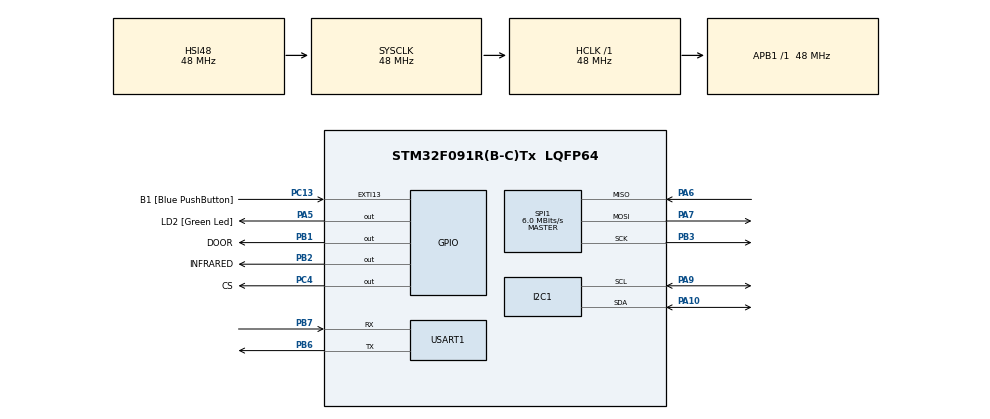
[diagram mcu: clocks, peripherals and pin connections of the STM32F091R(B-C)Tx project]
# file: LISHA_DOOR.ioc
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Mcu.Family=STM32F0
Mcu.Name=STM32F091R(B-C)Tx
Mcu.Package=LQFP64
PA10.Mode=I2C
PA10.Signal=I2C1_SDA
PA13.GPIO_Label=TMS
PA13.Signal=SYS_SWDIO
PA14.GPIO_Label=TCK
PA14.Signal=SYS_SWCLK
PA2.GPIO_Label=USART_TX
PA2.GPIO_Mode=GPIO_MODE_AF_PP
PA2.GPIO_PuPd=GPIO_NOPULL
PA2.GPIO_Speed=GPIO_SPEED_FREQ_LOW
PA2.Signal=USART2_TX
PA3.GPIO_Label=USART_RX
PA3.GPIO_Mode=GPIO_MODE_AF_PP
PA3.GPIO_PuPd=GPIO_NOPULL
PA3.GPIO_Speed=GPIO_SPEED_FREQ_LOW
PA3.Signal=USART2_RX
PA5.GPIO_Label=LD2 [Green Led]
PA5.GPIO_Mode=GPIO_MODE_OUTPUT_PP
PA5.GPIO_PuPd=GPIO_NOPULL
PA5.GPIO_Speed=GPIO_SPEED_FREQ_LOW
PA5.Signal=GPIO_Output
PA6.Mode=Full_Duplex_Master
PA6.Signal=SPI1_MISO
PA7.Mode=Full_Duplex_Master
PA7.Signal=SPI1_MOSI
PA9.Mode=I2C
PA9.Signal=I2C1_SCL
PB1.GPIO_Label=DOOR
PB1.Signal=GPIO_Output
PB2.GPIO_Label=INFRARED
PB2.Signal=GPIO_Output
PB3.Mode=Full_Duplex_Master
PB3.Signal=SPI1_SCK
PB6.Mode=Asynchronous
PB6.Signal=USART1_TX
PB7.Mode=Asynchronous
PB7.Signal=USART1_RX
PC13.GPIO_Label=B1 [Blue PushButton]
PC13.GPIO_ModeDefaultEXTI=GPIO_MODE_IT_FALLING
PC13.Signal=GPXTI13
PC14OSC32_IN.Signal=RCC_OSC32_IN
PC15OSC32_OUT.Signal=RCC_OSC32_OUT
PC4.GPIO_Label=CS
PC4.Signal=GPIO_Output
PF0-OSC_IN.Signal=RCC_OSC_IN
PF1-OSC_OUT.Signal=RCC_OSC_OUT
ProjectManager.HeapSize=0x200
ProjectManager.StackSize=0x400
ProjectManager.TargetToolchain=STM32CubeIDE
RCC.AHBFreq_Value=48000000
RCC.APB1Freq_Value=48000000
RCC.APB1TimFreq_Value=48000000
RCC.FLatency-AdvancedSettings=FLASH_LATENCY_1
RCC.HCLKFreq_Value=48000000
RCC.PLLDivider=RCC_PREDIV_DIV2
RCC.PLLMUL=RCC_PLL_MUL12
RCC.PREFETCH_ENABLE-AdvancedSettings=1
RCC.SYSCLKFreq_VALUE=48000000
RCC.SYSCLKSource=RCC_SYSCLKSOURCE_HSI48
SPI1.BaudRatePrescaler=SPI_BAUDRATEPRESCALER_8
SPI1.CalculateBaudRate=6.0 MBits/s
SPI1.Direction=SPI_DIRECTION_2LINES
SPI1.Mode=SPI_MODE_MASTER
SPI1.VirtualType=VM_MASTER
USART1.VirtualMode-Asynchronous=VM_ASYNC
VP_TIM1_VS_ClockSourceINT.Mode=Internal
board=NUCLEO-F091RC

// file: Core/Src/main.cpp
/* USER CODE BEGIN Header */
/**
  ******************************************************************************
  * @file           : main.c
  * @brief          : Main program body
  ******************************************************************************
  * @attention
  *
  * Copyright (c) 2023 STMicroelectronics.
  * All rights reserved.
  *
  * This software is licensed under terms that can be found in the LICENSE file
  * in the root directory of this software component.
  * If no LICENSE file comes with this software, it is provided AS-IS.
  *
  ******************************************************************************
  */
/* USER CODE END Header */
#include "main.h"
#include <cstdio>
#include "i2c.h"
#include "spi.h"
#include "tim.h"
#include "usart.h"
#include "gpio.h"
#include "ClockCalendar.h"
#include "RFID.hpp"
#include "AC_controller.hpp"
#include "BMP280.hpp"
#include "List.hpp"
#include "MQTT.hpp"

/* USER CODE BEGIN PV */
enum cases{
	StandBy = 0,
	CmdPorta,
	CmdAC,
	CommAndroid,
	CmdLog
};

#define MASTER_CARD_UID 0xa3a59670
/* USER CODE END PV */

void SystemClock_Config(void);

int main(void)
{
  /* USER CODE BEGIN 1 */

	uint8_t cases = StandBy;
	uint32_t card;
	uint32_t registeredCards[16];
	string acButton;
	string acTempMButton;
	string acTempPButton;
	string doorButton;
	uint8_t flagAcOn = 0;
	uint8_t flagDoorOpen = 0;
	uint8_t flagPlusTemp = 0;
	uint8_t flagMinusTemp = 0;
	float temperature = 0.00;
	const char *ssid = "LISHA_WIFI";
	const char *password = "l1sh4_2022";
	const char *broker = "mqtt.eclipse.org";
	uint16_t mqttPort = 1883;
	const char *topicAcOn = "/acbutton/";
	const char *topicAcTempPlus = "/acplustemp/";
	const char *topicAcTempMinus = "/acminustemp/";
	const char *topic_out = "/temperature/";
	const char *topicDoorButton = "/doorButton/";

	uint8_t temp = 24; //valro padrão de temperatura do ar condicionado
	/* USER CODE END 1 */

	/* MCU Configuration--------------------------------------------------------*/

	/* Reset of all peripherals, Initializes the Flash interface and the Systick. */
	HAL_Init();

	/* Configure the system clock */
	SystemClock_Config();

  /* Initialize all configured peripherals */
	MX_GPIO_Init();
	MX_I2C1_Init();
	MX_SPI1_Init();
	MX_TIM1_Init();
	MX_USART1_UART_Init();
	/* USER CODE BEGIN 2 */
	ClockCalendar clkCalendar(9, 20, 2023, 7, 32, 20, 1); // 13/09/2023 - 7:50:50 PM;
	RFID rfid(CS_GPIO_Port, CS_Pin);
	rfid.RFID_Init();
	BMP280 bmp(0xF5, 0xF4);
	AC_controller ac(*INFRARED_GPIO_Port, INFRARED_Pin);
	List log;
	MQTT mqtt(broker, mqttPort, ssid, password);

  /* USER CODE END 2 */

  /* Infinite loop */
  /* USER CODE BEGIN WHILE */
	while (1) {
		switch (cases) {
		case StandBy:
			acButton = mqtt.Subscribe(topicAcOn, 2);
			acTempMButton = mqtt.Subscribe(topicAcTempMinus, 1);
			acTempPButton = mqtt.Subscribe(topicAcTempPlus, 1);
			doorButton = mqtt.Subscribe(topicDoorButton, 2);

			temperature = bmp.readSensor();

			if(acButton == "L")
			{
				flagAcOn = 1;
				cases = CommAndroid;
			}
			else if (acTempMButton == "M"){
				flagMinusTemp = 1;
				cases = CommAndroid;
			}
			else if (acTempPButton == "P"){
				flagPlusTemp = 1;
				cases = CommAndroid;
			}
			else if (doorButton == "L"){
				flagDoorOpen = 1;
				cases = CommAndroid;
			}

			else{
				flagAcOn = 0;
				flagDoorOpen = 0;
				flagMinusTemp = 0;
				flagPlusTemp = 0;
				cases = StandBy;

			}

			int hour, minute, second, isPM, day, month, year;
			temperature = bmp.readSensor();
			card = rfid.readSensor();
			for (uint8_t i = 0; i < 16; i++) {
				if (card == registeredCards[i]) {
					cases = CmdPorta;
					card = 0;
				} else if (card == MASTER_CARD_UID) {
					delay_us(1000);
					uint32_t temp_card = rfid.readSensor();
					if (registeredCards[i] == 0) {
						registeredCards[i] = temp_card;
						cases = CmdPorta;
					}
				}
			}

			break;
		case CmdPorta:
			GPIO_Output(DOOR_GPIO_Port, DOOR_Pin, 1);
			delay_us(1000);
			GPIO_Output(DOOR_GPIO_Port, DOOR_Pin, 0);
			clkCalendar.readClock(hour, second, minute, isPM);
			log.insertAfterLast(rfid.getSensorID(), temp, 1, flagAcOn, hour, minute, second, isPM);
			cases = StandBy;
			break;
		case CmdAC:
			switch (temp) {
			case 16:
				ac.sendCommand(AC_controller::COOL, AC_controller::FAN_AUTO, AC_controller::T16, AC_controller::TURBO_ON, AC_controller::SWING_ON, AC_controller::SHEET_ON);
				log.insertAfterLast(rfid.getSensorID(), temp, 0, flagAcOn, hour, minute, second, isPM);
				break;
			case 17:
				ac.sendCommand(AC_controller::COOL, AC_controller::FAN_AUTO, AC_controller::T17, AC_controller::TURBO_ON, AC_controller::SWING_ON, AC_controller::SHEET_ON);
				log.insertAfterLast(rfid.getSensorID(), temp, 0, flagAcOn, hour, minute, second, isPM);
				break;
			case 18:
				ac.sendCommand(AC_controller::COOL, AC_controller::FAN_AUTO, AC_controller::T18, AC_controller::TURBO_ON, AC_controller::SWING_ON, AC_controller::SHEET_ON);
				log.insertAfterLast(rfid.getSensorID(), temp, 0, flagAcOn, hour, minute, second, isPM);
				break;
			case 19:
				ac.sendCommand(AC_controller::COOL, AC_controller::FAN_AUTO, AC_controller::T19, AC_controller::TURBO_ON, AC_controller::SWING_ON, AC_controller::SHEET_ON);
				log.insertAfterLast(rfid.getSensorID(), temp, 0, flagAcOn, hour, minute, second, isPM);
				break;
			case 20:
				ac.sendCommand(AC_controller::COOL, AC_controller::FAN_AUTO, AC_controller::T20, AC_controller::TURBO_ON, AC_controller::SWING_ON, AC_controller::SHEET_ON);
				log.insertAfterLast(rfid.getSensorID(), temp, 0, flagAcOn, hour, minute, second, isPM);
				break;
			case 21:
				ac.sendCommand(AC_controller::COOL, AC_controller::FAN_AUTO, AC_controller::T21, AC_controller::TURBO_ON, AC_controller::SWING_ON, AC_controller::SHEET_ON);
				log.insertAfterLast(rfid.getSensorID(), temp, 0, flagAcOn, hour, minute, second, isPM);
				break;
			case 22:
				ac.sendCommand(AC_controller::COOL, AC_controller::FAN_AUTO, AC_controller::T22, AC_controller::TURBO_ON, AC_controller::SWING_ON, AC_controller::SHEET_ON);
				log.insertAfterLast(rfid.getSensorID(), temp, 0, flagAcOn, hour, minute, second, isPM);
				break;
			case 23:
				ac.sendCommand(AC_controller::COOL, AC_controller::FAN_AUTO, AC_controller::T23, AC_controller::TURBO_ON, AC_controller::SWING_ON, AC_controller::SHEET_ON);
				log.insertAfterLast(rfid.getSensorID(), temp, 0, flagAcOn, hour, minute, second, isPM);
				break;
			case 24:
				ac.sendCommand(AC_controller::COOL, AC_controller::FAN_AUTO, AC_controller::T24, AC_controller::TURBO_ON, AC_controller::SWING_ON, AC_controller::SHEET_ON);
				log.insertAfterLast(rfid.getSensorID(), temp, 0, flagAcOn, hour, minute, second, isPM);
				break;
			case 25:
				ac.sendCommand(AC_controller::COOL, AC_controller::FAN_AUTO, AC_controller::T25, AC_controller::TURBO_ON, AC_controller::SWING_ON, AC_controller::SHEET_ON);
				log.insertAfterLast(rfid.getSensorID(), temp, 0, flagAcOn, hour, minute, second, isPM);
				break;
			case 26:
				ac.sendCommand(AC_controller::COOL, AC_controller::FAN_AUTO, AC_controller::T26, AC_controller::TURBO_ON, AC_controller::SWING_ON, AC_controller::SHEET_ON);
				log.insertAfterLast(rfid.getSensorID(), temp, 0, flagAcOn, hour, minute, second, isPM);
				break;
			case 27:
				ac.sendCommand(AC_controller::COOL, AC_controller::FAN_AUTO, AC_controller::T27, AC_controller::TURBO_ON, AC_controller::SWING_ON, AC_controller::SHEET_ON);
				log.insertAfterLast(rfid.getSensorID(), temp, 0, flagAcOn, hour, minute, second, isPM);
				break;
			case 28:
				ac.sendCommand(AC_controller::COOL, AC_controller::FAN_AUTO, AC_controller::T28, AC_controller::TURBO_ON, AC_controller::SWING_ON, AC_controller::SHEET_ON);
				log.insertAfterLast(rfid.getSensorID(), temp, 0, flagAcOn, hour, minute, second, isPM);
				break;
			case 29:
				ac.sendCommand(AC_controller::COOL, AC_controller::FAN_AUTO, AC_controller::T29, AC_controller::TURBO_ON, AC_controller::SWING_ON, AC_controller::SHEET_ON);
				log.insertAfterLast(rfid.getSensorID(), temp, 0, flagAcOn, hour, minute, second, isPM);
				break;
			case 30:
				ac.sendCommand(AC_controller::COOL, AC_controller::FAN_AUTO, AC_controller::T30, AC_controller::TURBO_ON, AC_controller::SWING_ON, AC_controller::SHEET_ON);
				log.insertAfterLast(rfid.getSensorID(), temp, 0, flagAcOn, hour, minute, second, isPM);
				break;
			case 31:
				ac.sendCommand(AC_controller::COOL, AC_controller::FAN_AUTO, AC_controller::T31, AC_controller::TURBO_ON, AC_controller::SWING_ON, AC_controller::SHEET_ON);
				log.insertAfterLast(rfid.getSensorID(), temp, 0, flagAcOn, hour, minute, second, isPM);
				break;
			case 32:
				ac.sendCommand(AC_controller::COOL, AC_controller::FAN_AUTO, AC_controller::T32, AC_controller::TURBO_ON, AC_controller::SWING_ON, AC_controller::SHEET_ON);
				log.insertAfterLast(rfid.getSensorID(), temp, 0, flagAcOn, hour, minute, second, isPM);
				break;
			default: //liga o ar e seta em 24
				ac.sendCommand(AC_controller::COOL, AC_controller::FAN_AUTO, AC_controller::T24, AC_controller::TURBO_ON, AC_controller::SWING_ON, AC_controller::SHEET_ON);
				log.insertAfterLast(rfid.getSensorID(), temp, 0, flagAcOn, hour, minute, second, isPM);
				break;
			}
			cases = StandBy;
			break;

		case CommAndroid:
			if(flagAcOn) cases = CmdAC;
			else if (flagDoorOpen) cases = CmdPorta;
			else if(flagMinusTemp){
				temp--;
				cases = CmdAC;
			}
			else if (flagPlusTemp){
				temp++;
				cases = CmdAC;
			}

			break;
		case CmdLog:
			int bmpTemp = temperature*1000;
			char sendTemp[10];
			sprintf(sendTemp, "%d", bmpTemp);
			mqtt.Publish(topic_out, sendTemp);

			int	T[8] = {0}; //buffer transmissao log
			char sendLog[100];
			for (uint8_t numNodes = 0; numNodes < log.listAll(); numNodes++) {
				log.removeFirst(T[0], T[1], T[2], T[3], T[4], T[5], T[6], T[7]);
				sprintf(sendLog, "%d", T[numNodes]);
				mqtt.Publish(topic_out, sendLog);
				T[numNodes] = 0; //limpa o buffer;
			}
			break;

//		default:
//			break;
		}

		clkCalendar.advance();
		HAL_Delay(1000);
		/* USER CODE END WHILE */

	}
}

void SystemClock_Config(void)
{
  RCC_OscInitTypeDef RCC_OscInitStruct = {0};
  RCC_ClkInitTypeDef RCC_ClkInitStruct = {0};
  RCC_PeriphCLKInitTypeDef PeriphClkInit = {0};

  /** Initializes the RCC Oscillators according to the specified parameters
  * in the RCC_OscInitTypeDef structure.
  */
  RCC_OscInitStruct.OscillatorType = RCC_OSCILLATORTYPE_HSI|RCC_OSCILLATORTYPE_HSI48;
  RCC_OscInitStruct.HSIState = RCC_HSI_ON;
  RCC_OscInitStruct.HSI48State = RCC_HSI48_ON;
  RCC_OscInitStruct.HSICalibrationValue = RCC_HSICALIBRATION_DEFAULT;
  RCC_OscInitStruct.PLL.PLLState = RCC_PLL_NONE;
  if (HAL_RCC_OscConfig(&RCC_OscInitStruct) != HAL_OK)
  {
    Error_Handler();
  }

  /** Initializes the CPU, AHB and APB buses clocks
  */
  RCC_ClkInitStruct.ClockType = RCC_CLOCKTYPE_HCLK|RCC_CLOCKTYPE_SYSCLK
                              |RCC_CLOCKTYPE_PCLK1;
  RCC_ClkInitStruct.SYSCLKSource = RCC_SYSCLKSOURCE_HSI48;
  RCC_ClkInitStruct.AHBCLKDivider = RCC_SYSCLK_DIV1;
  RCC_ClkInitStruct.APB1CLKDivider = RCC_HCLK_DIV1;

  if (HAL_RCC_ClockConfig(&RCC_ClkInitStruct, FLASH_LATENCY_1) != HAL_OK)
  {
    Error_Handler();
  }
  PeriphClkInit.PeriphClockSelection = RCC_PERIPHCLK_USART1|RCC_PERIPHCLK_I2C1;
  PeriphClkInit.Usart1ClockSelection = RCC_USART1CLKSOURCE_PCLK1;
  PeriphClkInit.I2c1ClockSelection = RCC_I2C1CLKSOURCE_HSI;
  if (HAL_RCCEx_PeriphCLKConfig(&PeriphClkInit) != HAL_OK)
  {
    Error_Handler();
  }
}

void Error_Handler(void)
{
  __disable_irq();
  while (1)
  {
  }
}
